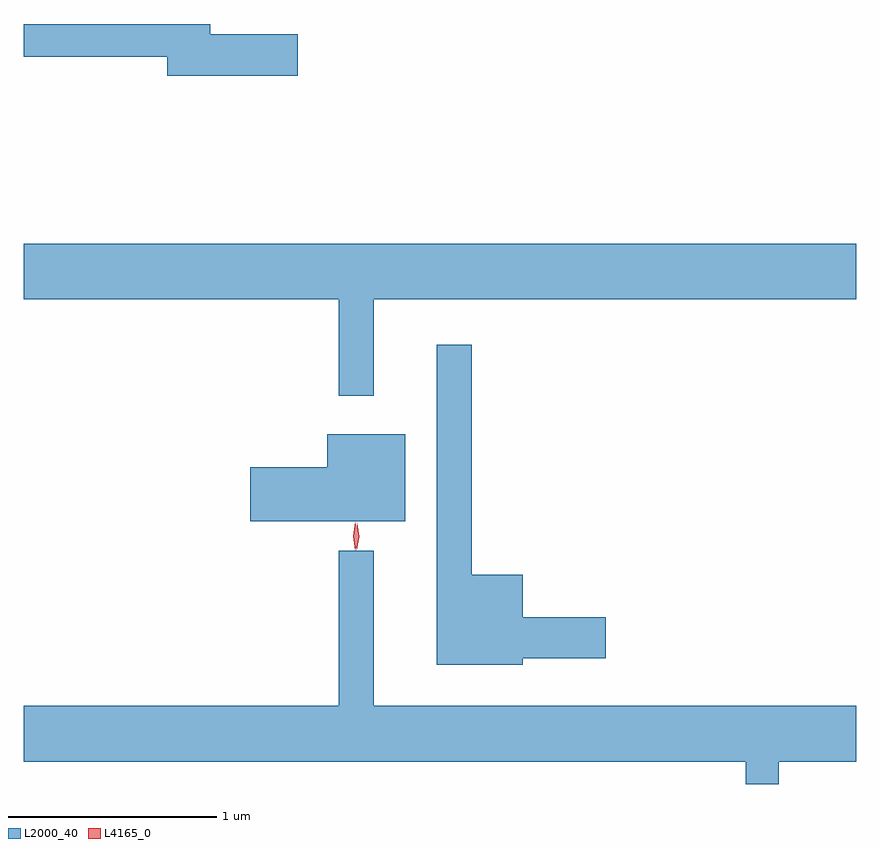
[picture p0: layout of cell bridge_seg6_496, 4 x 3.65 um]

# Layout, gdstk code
import gdstk
lib = gdstk.Library(unit=1e-6, precision=1e-09)
def P(c, l, *ps):  # polygons
    for p in ps: c.add(gdstk.Polygon(p, *l))
L2000_40 = (2000, 40)
L4165_0 = (4165, 0)

bridge_seg6_496 = lib.new_cell('bridge_seg6_496')
P(bridge_seg6_496, L2000_40, [(929.994,1580.169),(929.574,1580.169),(929.574,1580.219),(928.677,1580.219),(928.677,1580.061),(929.366,1580.061),(929.366,1579.971),(929.994,1579.971)],
  [(930.359,1578.896),(932.677,1578.896),(932.677,1579.164),(928.677,1579.164),(928.677,1578.896),(930.191,1578.896),(930.191,1578.433),(930.359,1578.433)],
  [(931.074,1577.171),(931.474,1577.171),(931.474,1577.369),(931.074,1577.369),(931.074,1577.574),(930.829,1577.574),(930.829,1578.678),(930.661,1578.678),(930.661,1577.141),(931.074,1577.141)],
  [(930.509,1578.249),(930.136,1578.249),(930.136,1578.089),(929.766,1578.089),(929.766,1577.831),(930.509,1577.831)],
  [(932.304,1576.676),(932.677,1576.676),(932.677,1576.944),(930.359,1576.944),(930.359,1577.688),(930.191,1577.688),(930.191,1576.944),(928.677,1576.944),(928.677,1576.676),(932.146,1576.676),(932.146,1576.568),(932.304,1576.568)])
P(bridge_seg6_496, L4165_0, [(930.278,1577.693),(930.277,1577.694),(930.269,1577.756),(930.279,1577.819),(930.28,1577.82),(930.28,1577.819),(930.289,1577.756),(930.278,1577.694)],
  [(930.27,1577.69),(930.27,1577.69),(930.26,1577.758),(930.269,1577.825),(930.269,1577.826),(930.27,1577.825),(930.28,1577.758),(930.271,1577.69)])

lib.write_gds('bridge_seg6_496.gds')
